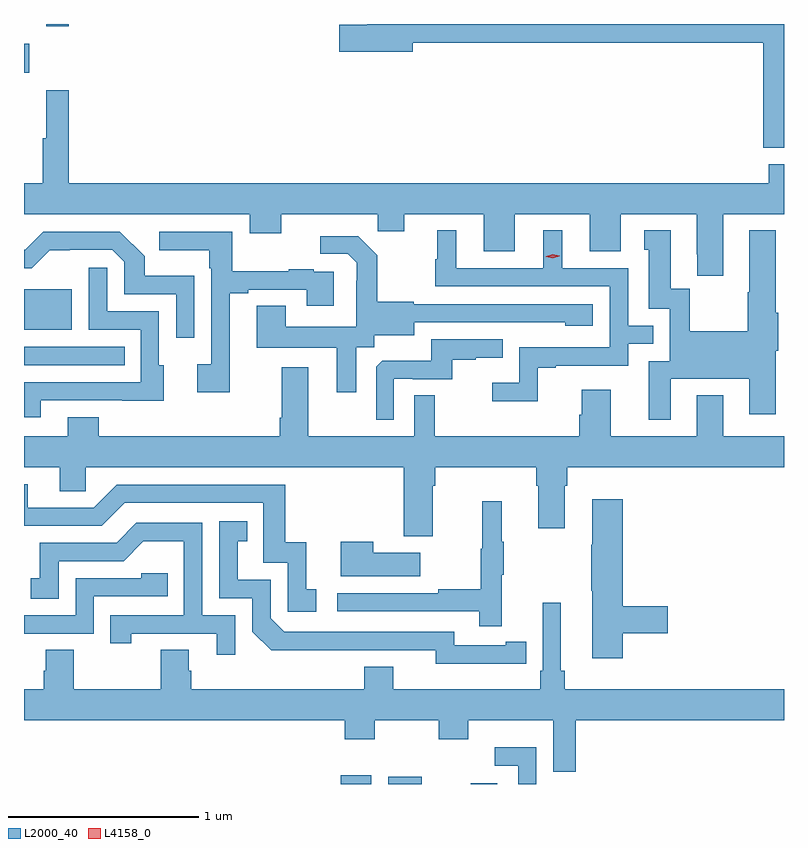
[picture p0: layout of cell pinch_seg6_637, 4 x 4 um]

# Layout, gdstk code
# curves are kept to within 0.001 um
import gdstk
lib = gdstk.Library(unit=1e-6, precision=1e-09)
def R(c, l, rs):  # rectangles x0, y0, x1, y1
    for r in rs: c.add(gdstk.rectangle(r[:2], r[2:], *l))
def P(c, l, *ps):  # polygons
    for p in ps: c.add(gdstk.Polygon(p, *l))
L2000_40 = (2000, 40)
L4158_0 = (4158, 0)

pinch_seg6_637 = lib.new_cell('pinch_seg6_637')
R(pinch_seg6_637, L2000_40, [(374.246,943.005,374.407,943.051), (374.496,943.005,374.674,943.042), (374.93,943.005,375.07,943.009), (372.58,945.21,373.109,945.306), (372.58,945.395,372.832,945.61), (372.58,946.748,372.607,946.9), (372.698,946.992,372.815,947.005)])
P(pinch_seg6_637, L2000_40, [(376.58,947.005),(374.387,947.005),(374.387,947.001),(374.238,947.001),(374.238,946.859),(374.626,946.859),(374.626,946.906),(376.472,946.906),(376.472,946.355),(376.58,946.355)],
  [(376.261,946.004),(376.58,946.004),(376.58,946.267),(376.499,946.267),(376.499,946.168),(372.815,946.168),(372.815,946.657),(372.698,946.657),(372.698,946.404),(372.679,946.404),(372.679,946.168),(372.58,946.168),(372.58,946.004),(373.769,946.004),(373.769,945.905),(373.933,945.905),(373.933,946.004),(374.443,946.004),(374.443,945.914),(374.581,945.914),(374.581,946.004),(374.999,946.004),(374.999,945.81),(375.163,945.81),(375.163,946.004),(375.557,946.004),(375.557,945.81),(375.721,945.81),(375.721,946.004),(376.121,946.004),(376.121,945.793),(376.124,945.793),(376.124,945.681),(376.261,945.681)],
  [(375.285,945.195),(375.379,945.195),(375.379,945.207),(375.759,945.207),(375.759,945.321),(375.893,945.321),(375.893,945.417),(375.759,945.417),(375.759,945.72),(375.412,945.72),(375.412,945.919),(375.314,945.919),(375.314,945.72),(374.854,945.72),(374.854,945.919),(374.756,945.919),(374.756,945.768),(374.745,945.768),(374.745,945.624),(375.663,945.624),(375.663,945.303),(375.186,945.303),(375.186,945.118),(375.045,945.118),(375.045,945.02),(375.285,945.02)],
  [(375.985,945.137),(376.397,945.137),(376.397,944.952),(376.537,944.952),(376.537,945.284),(376.55,945.284),(376.55,945.484),(376.537,945.484),(376.537,945.919),(376.397,945.919),(376.397,945.593),(376.39,945.593),(376.39,945.388),(376.083,945.388),(376.083,945.611),(375.985,945.611),(375.985,945.919),(375.845,945.919),(375.845,945.816),(375.869,945.816),(375.869,945.507),(375.978,945.507),(375.978,945.231),(375.869,945.231),(375.869,944.922),(375.985,944.922)],
  [(373.476,945.679),(373.215,945.679),(373.215,945.782),(373.084,945.912),(372.681,945.912),(372.587,945.818),(372.58,945.818),(372.58,945.72),(372.621,945.72),(372.716,945.815),(373.044,945.816),(373.107,945.753),(373.107,945.582),(373.38,945.582),(373.38,945.354),(373.476,945.354)],
  [(373.663,945.588),(373.759,945.588),(373.759,945.606),(374.069,945.606),(374.069,945.522),(374.209,945.522),(374.209,945.702),(374.105,945.702),(374.105,945.715),(373.973,945.715),(373.973,945.704),(373.675,945.704),(373.675,945.912),(373.293,945.912),(373.293,945.815),(373.554,945.815),(373.554,945.719),(373.566,945.719),(373.566,945.214),(373.491,945.214),(373.491,945.066),(373.663,945.066)],
  [(374.329,945.304),(374.424,945.304),(374.424,945.368),(374.635,945.368),(374.635,945.435),(375.429,945.434),(375.429,945.416),(375.574,945.416),(375.574,945.531),(374.631,945.531),(374.631,945.544),(374.439,945.544),(374.439,945.789),(374.339,945.889),(374.139,945.889),(374.139,945.795),(374.283,945.795),(374.33,945.748),(374.33,945.653),(374.328,945.653),(374.328,945.412),(373.957,945.412),(373.957,945.521),(373.805,945.521),(373.805,945.302),(374.225,945.302),(374.225,945.066),(374.329,945.066)],
  [(372.667,945.024),(373.097,945.024),(373.097,945.023),(373.315,945.023),(373.315,945.21),(373.29,945.21),(373.29,945.492),(373.017,945.492),(373.017,945.721),(372.921,945.721),(372.921,945.396),(373.194,945.396),(373.194,945.12),(372.58,945.12),(372.58,944.934),(372.667,944.934)],
  [(374.526,945.138),(374.626,945.138),(374.626,945.135),(374.834,945.135),(374.834,945.237),(374.957,945.237),(374.957,945.248),(375.101,945.248),(375.101,945.345),(374.724,945.345),(374.724,945.233),(374.465,945.233),(374.433,945.201),(374.433,944.921),(374.526,944.921)],
  [(374.731,944.576),(374.744,944.576),(374.744,944.672),(375.275,944.672),(375.275,944.576),(375.287,944.576),(375.287,944.352),(375.427,944.352),(375.427,944.576),(375.44,944.576),(375.44,944.672),(376.58,944.672),(376.58,944.836),(376.261,944.836),(376.261,945.052),(376.121,945.052),(376.121,944.836),(375.667,944.836),(375.667,945.079),(375.515,945.079),(375.515,944.949),(375.503,944.949),(375.503,944.836),(374.743,944.836),(374.743,945.05),(374.634,945.05),(374.634,944.836),(374.077,944.836),(374.077,945.199),(373.937,945.199),(373.937,944.932),(373.925,944.932),(373.925,944.836),(372.973,944.836),(372.973,944.935),(372.809,944.935),(372.809,944.836),(372.58,944.836),(372.58,944.672),(372.767,944.672),(372.767,944.545),(372.906,944.545),(372.906,944.672),(374.579,944.672),(374.579,944.31),(374.731,944.31)],
  [(374.119,944.031),(374.066,944.031),(374.066,944.278),(373.955,944.278),(373.955,944.58),(373.068,944.58),(372.948,944.46),(372.601,944.46),(372.601,944.583),(372.58,944.583),(372.58,944.364),(372.99,944.364),(373.11,944.484),(373.839,944.484),(373.839,944.169),(373.968,944.169),(373.968,943.911),(374.119,943.911)],
  [(375.731,943.798),(375.967,943.798),(375.967,943.94),(375.731,943.94),(375.731,944.503),(375.572,944.503),(375.572,944.264),(375.565,944.264),(375.565,944.023),(375.572,944.023),(375.572,943.668),(375.731,943.668)],
  [(375.095,944.107),(375.106,944.107),(375.106,944.281),(375.095,944.281),(375.095,944.494),(374.992,944.494),(374.992,944.244),(374.985,944.244),(374.985,944.03),(374.761,944.03),(374.761,944.01),(374.229,944.01),(374.229,943.914),(374.977,943.914),(374.977,943.836),(375.095,943.836)],
  [(375.116,943.638),(375.224,943.638),(375.224,943.754),(375.116,943.754),(375.116,943.734),(374.844,943.734),(374.844,943.806),(373.95,943.806),(373.878,943.878),(373.878,944.079),(373.705,944.079),(373.705,944.283),(373.754,944.283),(373.754,944.389),(373.608,944.389),(373.608,943.983),(373.782,943.983),(373.782,943.806),(373.88,943.709),(374.748,943.71),(374.748,943.637)],
  [(373.692,943.893),(373.518,943.893),(373.518,944.379),(373.172,944.379),(373.067,944.274),(372.664,944.274),(372.664,944.089),(372.615,944.089),(372.615,943.98),(372.762,943.98),(372.762,944.178),(373.104,944.178),(373.208,944.282),(373.422,944.282),(373.422,943.893),(373.033,943.893),(373.033,943.746),(373.144,943.746),(373.144,943.797),(373.595,943.797),(373.595,943.686),(373.692,943.686)],
  [(374.665,944.221),(374.417,944.221),(374.417,944.281),(374.246,944.281),(374.246,944.099),(374.665,944.099)],
  [(372.948,943.992),(373.337,943.992),(373.337,944.115),(373.197,944.115),(373.197,944.088),(372.852,944.088),(372.852,943.893),(372.58,943.893),(372.58,943.797),(372.948,943.797)],
  [(375.484,943.34),(376.58,943.34),(376.58,943.504),(375.425,943.504),(375.425,943.6),(375.406,943.6),(375.406,943.96),(375.309,943.96),(375.309,943.6),(375.296,943.6),(375.296,943.504),(374.524,943.504),(374.524,943.621),(374.372,943.621),(374.372,943.504),(373.46,943.504),(373.46,943.602),(373.447,943.602),(373.447,943.712),(373.3,943.712),(373.3,943.504),(372.843,943.504),(372.843,943.712),(372.695,943.712),(372.695,943.602),(372.683,943.602),(372.683,943.504),(372.58,943.504),(372.58,943.34),(374.267,943.34),(374.267,943.241),(374.427,943.241),(374.427,943.34),(374.764,943.34),(374.764,943.241),(374.919,943.241),(374.919,943.34),(375.365,943.34),(375.365,943.069),(375.484,943.069)],
  [(375.276,943.198),(375.057,943.198),(375.057,943.101),(375.18,943.101),(375.18,943.005),(375.276,943.005)])
P(pinch_seg6_637, L4158_0, [(375.363,945.772),(375.328,945.781),(375.327,945.781),(375.328,945.782),(375.363,945.792),(375.398,945.784),(375.399,945.784),(375.398,945.783)])

lib.write_gds('pinch_seg6_637.gds')
